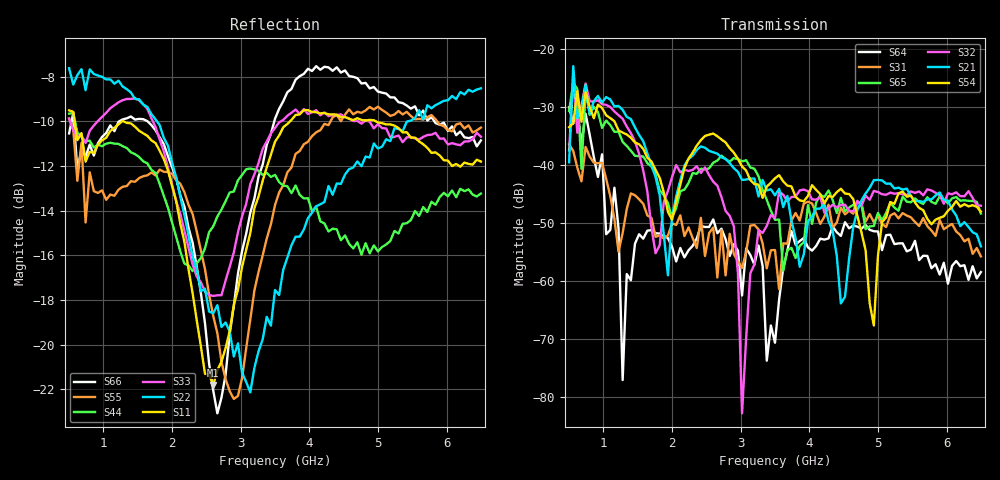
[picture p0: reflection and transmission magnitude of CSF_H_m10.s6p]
!Keysight Technologies,M9804A,MY58100912,A.14.10.03
!Date: Thursday, April 27, 2023 10:28:33
!Correction: S11(C  6-Port  )
!S12(C  6-Port  )
!S13(C  6-Port  )
!S14(C  6-Port  )
!S15(C  6-Port  )
!S16(C  6-Port  )
!S21(C  6-Port  )
!S22(C  6-Port  )
!S23(C  6-Port  )
!S24(C  6-Port  )
!S25(C  6-Port  )
!S26(C  6-Port  )
!S31(C  6-Port  )
!S32(C  6-Port  )
!S33(C  6-Port  )
!S34(C  6-Port  )
!S35(C  6-Port  )
!S36(C  6-Port  )
!S41(C  6-Port  )
!S42(C  6-Port  )
!S43(C  6-Port  )
!S44(C  6-Port  )
!S45(C  6-Port  )
!S46(C  6-Port  )
!S51(C  6-Port  )
!S52(C  6-Port  )
!S53(C  6-Port  )
!S54(C  6-Port  )
!S55(C  6-Port  )
!S56(C  6-Port  )
!S61(C  6-Port  )
!S62(C  6-Port  )
!S63(C  6-Port  )
!S64(C  6-Port  )
!S65(C  6-Port  )
!S66(C  6-Port  )
!S6P File: Measurement: :
# Hz S  RI  R 50
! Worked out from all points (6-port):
!   101 points, 500 MHz to 6.5 GHz, reference 50 ohm
!   strongest paths, dB at 500 MHz, 2 GHz, 3.5 GHz, 5 GHz, 6.5 GHz:
!     S54: -33.5, -49.4, -42.3, -55.7, -48.1
!     S21: -39.5, -48.9, -45.2, -42.6, -54.1
!     S32: -37.5, -42.1, -49.2, -44.7, -47.0
!     S65: -30.7, -49.1, -49.5, -48.3, -48.4
!     S31: -36.4, -50.1, -54.7, -48.8, -55.8
!     S64: -30.0, -54.1, -70.7, -51.5, -58.5
!   lowest |S11| = -21.8 dB at 2.6 GHz (marker M1), VSWR 1.18, Z = 42.7 + j1.9 ohm
!   |S11| at or under -10 dB: 580.3 MHz to 1.271 GHz (690.8 MHz wide, 74.6 % of centre); 1.295 GHz to 3.718 GHz (2.423 GHz wide, 96.7 % of centre); 4.972 GHz to end of sweep
